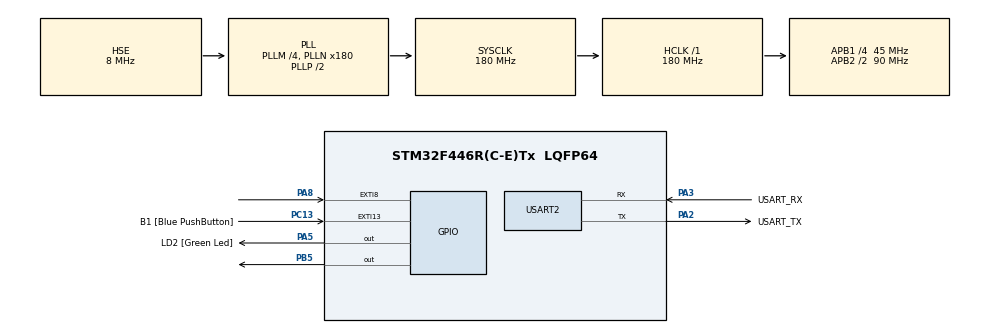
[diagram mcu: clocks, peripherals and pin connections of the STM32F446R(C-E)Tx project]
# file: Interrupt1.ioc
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Mcu.Family=STM32F4
Mcu.Name=STM32F446R(C-E)Tx
Mcu.Package=LQFP64
NVIC.EXTI9_5_IRQn=true\:0\:0\:false\:false\:true\:true\:true\:true
NVIC.PriorityGroup=NVIC_PRIORITYGROUP_0
PA13.GPIO_Label=TMS
PA13.Mode=Serial_Wire
PA13.Signal=SYS_JTMS-SWDIO
PA14.GPIO_Label=TCK
PA14.Mode=Serial_Wire
PA14.Signal=SYS_JTCK-SWCLK
PA2.GPIO_Label=USART_TX
PA2.Mode=Asynchronous
PA2.Signal=USART2_TX
PA3.GPIO_Label=USART_RX
PA3.Mode=Asynchronous
PA3.Signal=USART2_RX
PA5.GPIO_Label=LD2 [Green Led]
PA5.Signal=GPIO_Output
PA8.Signal=GPXTI8
PB3.GPIO_Label=SWO
PB3.Signal=SYS_JTDO-SWO
PB5.GPIO_Speed=GPIO_SPEED_FREQ_LOW
PB5.Signal=GPIO_Output
PC13.GPIO_Label=B1 [Blue PushButton]
PC13.GPIO_ModeDefaultEXTI=GPIO_MODE_IT_FALLING
PC13.Signal=GPXTI13
PC14-OSC32_IN.Signal=RCC_OSC32_IN
PC15-OSC32_OUT.Signal=RCC_OSC32_OUT
PH0-OSC_IN.Mode=HSE-External-Clock-Source
PH0-OSC_IN.Signal=RCC_OSC_IN
PH1-OSC_OUT.Mode=HSE-External-Clock-Source
PH1-OSC_OUT.Signal=RCC_OSC_OUT
ProjectManager.HeapSize=0x200
ProjectManager.StackSize=0x400
ProjectManager.TargetToolchain=STM32CubeIDE
RCC.48MHZClocksFreq_Value=84000000
RCC.AHBFreq_Value=180000000
RCC.APB1CLKDivider=RCC_HCLK_DIV4
RCC.APB1Freq_Value=45000000
RCC.APB1TimFreq_Value=90000000
RCC.APB2CLKDivider=RCC_HCLK_DIV2
RCC.APB2Freq_Value=90000000
RCC.APB2TimFreq_Value=180000000
RCC.CortexFreq_Value=180000000
RCC.FLatency-AdvancedSettings=FLASH_LATENCY_5
RCC.HCLKFreq_Value=180000000
RCC.HSE_VALUE=8000000
RCC.HSI_VALUE=16000000
RCC.PLLM=4
RCC.PLLN=180
RCC.PLLSourceVirtual=RCC_PLLSOURCE_HSE
RCC.SYSCLKFreq_VALUE=180000000
RCC.SYSCLKSource=RCC_SYSCLKSOURCE_PLLCLK
RCC.USBFreq_Value=180000000
RCC.VCOOutputFreq_Value=360000000
USART2.VirtualMode=VM_ASYNC
board=NUCLEO-F446RE

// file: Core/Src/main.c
/* USER CODE BEGIN Header */
/**
  ******************************************************************************
  * @file           : main.c
  * @brief          : Main program body
  ******************************************************************************
  * @attention
  *
  * Copyright (c) 2026 STMicroelectronics.
  * All rights reserved.
  *
  * This software is licensed under terms that can be found in the LICENSE file
  * in the root directory of this software component.
  * If no LICENSE file comes with this software, it is provided AS-IS.
  *
  ******************************************************************************
  */
/* USER CODE END Header */
#include "main.h"

/* USER CODE BEGIN Includes */
#include <string.h>

/* USER CODE END Includes */

/* USER CODE BEGIN PTD */

typedef enum
{
    MODE_OFF = 0,
    MODE_ON,
    MODE_FLASH,
    MODE_SOS
} LedMode_t;

/* USER CODE END PTD */

/* USER CODE BEGIN PD */

#define LONG_PRESS_TIME_MS   1000
#define DEBOUNCE_TIME_MS     50

/* USER CODE END PD */

UART_HandleTypeDef huart2;

/* USER CODE BEGIN PV */

uint32_t currentTime = 0;
uint32_t previousTime = 0;
uint32_t buttonPressStart = 0;

volatile LedMode_t ledMode = MODE_OFF;
LedMode_t lastReportedMode = MODE_OFF;

/* USER CODE END PV */

void SystemClock_Config(void);
static void MX_GPIO_Init(void);
static void MX_USART2_UART_Init(void);

/* USER CODE BEGIN PFP */
void uart_print(char *msg);
void quick_flash(void);
void sos_pattern(void);
uint8_t delay_abortable(uint32_t ms);
uint8_t led_on_abortable(uint32_t ms);
uint8_t led_off_abortable(uint32_t ms);

/* USER CODE END PFP */

/* USER CODE BEGIN 0 */

// Interrupt callback function
void HAL_GPIO_EXTI_Callback(uint16_t GPIO_Pin)
{
    if (GPIO_Pin == GPIO_PIN_8)
    {
        currentTime = HAL_GetTick();

        if ((currentTime - previousTime) < DEBOUNCE_TIME_MS)
        {
            return;
        }

        previousTime = currentTime;

        if (HAL_GPIO_ReadPin(GPIOA, GPIO_PIN_8) == GPIO_PIN_SET)
        {
            // Button pressed
            buttonPressStart = currentTime;
        }
        else
        {
            // Button released
            uint32_t pressDuration = currentTime - buttonPressStart;

            if (pressDuration >= LONG_PRESS_TIME_MS)
            {
                // Long press turns LED off from any mode
                ledMode = MODE_OFF;
            }
            else
            {
                // Short press cycles only through the 3 active modes
                switch (ledMode)
                {
                    case MODE_OFF:
                        ledMode = MODE_ON;
                        break;

                    case MODE_ON:
                        ledMode = MODE_FLASH;
                        break;

                    case MODE_FLASH:
                        ledMode = MODE_SOS;
                        break;

                    case MODE_SOS:
                        ledMode = MODE_ON;
                        break;

                    default:
                        ledMode = MODE_OFF;
                        break;
                }
            }
        }
    }
}

/* USER CODE END 0 */

int main(void)
{

  /* MCU Configuration--------------------------------------------------------*/

  /* Reset of all peripherals, Initializes the Flash interface and the Systick. */
  HAL_Init();

  /* Configure the system clock */
  SystemClock_Config();

  /* Initialize all configured peripherals */
  MX_GPIO_Init();
  MX_USART2_UART_Init();

  /* Infinite loop */
  /* USER CODE BEGIN WHILE */
  while (1)
  {
	  if (ledMode != lastReportedMode)
	  {
	      switch (ledMode)
	      {
	          case MODE_OFF:
	              uart_print("MODE: OFF\r\n");
	              break;

	          case MODE_ON:
	              uart_print("MODE: ON\r\n");
	              break;

	          case MODE_FLASH:
	              uart_print("MODE: FLASH\r\n");
	              break;

	          case MODE_SOS:
	              uart_print("MODE: SOS\r\n");
	              break;

	          default:
	              uart_print("MODE: UNKNOWN\r\n");
	              break;
	      }

	      lastReportedMode = ledMode;
	  }

      switch (ledMode)
      {
          case MODE_OFF:
              HAL_GPIO_WritePin(GPIOB, GPIO_PIN_5, GPIO_PIN_RESET);
              break;

          case MODE_ON:
              HAL_GPIO_WritePin(GPIOB, GPIO_PIN_5, GPIO_PIN_SET);
              break;

          case MODE_FLASH:
              quick_flash();
              break;

          case MODE_SOS:
              sos_pattern();
              break;

          default:
              ledMode = MODE_OFF;
              break;
      }
    /* USER CODE END WHILE */

  }
}

void SystemClock_Config(void)
{
  RCC_OscInitTypeDef RCC_OscInitStruct = {0};
  RCC_ClkInitTypeDef RCC_ClkInitStruct = {0};

  /** Configure the main internal regulator output voltage
  */
  __HAL_RCC_PWR_CLK_ENABLE();
  __HAL_PWR_VOLTAGESCALING_CONFIG(PWR_REGULATOR_VOLTAGE_SCALE1);

  /** Initializes the RCC Oscillators according to the specified parameters
  * in the RCC_OscInitTypeDef structure.
  */
  RCC_OscInitStruct.OscillatorType = RCC_OSCILLATORTYPE_HSE;
  RCC_OscInitStruct.HSEState = RCC_HSE_BYPASS;
  RCC_OscInitStruct.PLL.PLLState = RCC_PLL_ON;
  RCC_OscInitStruct.PLL.PLLSource = RCC_PLLSOURCE_HSE;
  RCC_OscInitStruct.PLL.PLLM = 4;
  RCC_OscInitStruct.PLL.PLLN = 180;
  RCC_OscInitStruct.PLL.PLLP = RCC_PLLP_DIV2;
  RCC_OscInitStruct.PLL.PLLQ = 2;
  RCC_OscInitStruct.PLL.PLLR = 2;
  if (HAL_RCC_OscConfig(&RCC_OscInitStruct) != HAL_OK)
  {
    Error_Handler();
  }

  /** Activate the Over-Drive mode
  */
  if (HAL_PWREx_EnableOverDrive() != HAL_OK)
  {
    Error_Handler();
  }

  /** Initializes the CPU, AHB and APB buses clocks
  */
  RCC_ClkInitStruct.ClockType = RCC_CLOCKTYPE_HCLK|RCC_CLOCKTYPE_SYSCLK
                              |RCC_CLOCKTYPE_PCLK1|RCC_CLOCKTYPE_PCLK2;
  RCC_ClkInitStruct.SYSCLKSource = RCC_SYSCLKSOURCE_PLLCLK;
  RCC_ClkInitStruct.AHBCLKDivider = RCC_SYSCLK_DIV1;
  RCC_ClkInitStruct.APB1CLKDivider = RCC_HCLK_DIV4;
  RCC_ClkInitStruct.APB2CLKDivider = RCC_HCLK_DIV2;

  if (HAL_RCC_ClockConfig(&RCC_ClkInitStruct, FLASH_LATENCY_5) != HAL_OK)
  {
    Error_Handler();
  }
}

static void MX_USART2_UART_Init(void)
{

  huart2.Instance = USART2;
  huart2.Init.BaudRate = 115200;
  huart2.Init.WordLength = UART_WORDLENGTH_8B;
  huart2.Init.StopBits = UART_STOPBITS_1;
  huart2.Init.Parity = UART_PARITY_NONE;
  huart2.Init.Mode = UART_MODE_TX_RX;
  huart2.Init.HwFlowCtl = UART_HWCONTROL_NONE;
  huart2.Init.OverSampling = UART_OVERSAMPLING_16;
  if (HAL_UART_Init(&huart2) != HAL_OK)
  {
    Error_Handler();
  }

}

static void MX_GPIO_Init(void)
{
  GPIO_InitTypeDef GPIO_InitStruct = {0};

  /* GPIO Ports Clock Enable */
  __HAL_RCC_GPIOC_CLK_ENABLE();
  __HAL_RCC_GPIOH_CLK_ENABLE();
  __HAL_RCC_GPIOA_CLK_ENABLE();
  __HAL_RCC_GPIOB_CLK_ENABLE();

  /*Configure GPIO pin Output Level */
  HAL_GPIO_WritePin(LD2_GPIO_Port, LD2_Pin, GPIO_PIN_RESET);

  /*Configure GPIO pin Output Level */
  HAL_GPIO_WritePin(GPIOB, GPIO_PIN_5, GPIO_PIN_RESET);

  /*Configure GPIO pin : B1_Pin */
  GPIO_InitStruct.Pin = B1_Pin;
  GPIO_InitStruct.Mode = GPIO_MODE_IT_FALLING;
  GPIO_InitStruct.Pull = GPIO_NOPULL;
  HAL_GPIO_Init(B1_GPIO_Port, &GPIO_InitStruct);

  /*Configure GPIO pin : LD2_Pin */
  GPIO_InitStruct.Pin = LD2_Pin;
  GPIO_InitStruct.Mode = GPIO_MODE_OUTPUT_PP;
  GPIO_InitStruct.Pull = GPIO_NOPULL;
  GPIO_InitStruct.Speed = GPIO_SPEED_FREQ_LOW;
  HAL_GPIO_Init(LD2_GPIO_Port, &GPIO_InitStruct);

  /*Configure GPIO pin : PA8 */
  GPIO_InitStruct.Pin = GPIO_PIN_8;
  GPIO_InitStruct.Mode = GPIO_MODE_IT_RISING_FALLING;
  GPIO_InitStruct.Pull = GPIO_PULLDOWN;
  HAL_GPIO_Init(GPIOA, &GPIO_InitStruct);

  /*Configure GPIO pin : PB5 */
  GPIO_InitStruct.Pin = GPIO_PIN_5;
  GPIO_InitStruct.Mode = GPIO_MODE_OUTPUT_PP;
  GPIO_InitStruct.Pull = GPIO_NOPULL;
  GPIO_InitStruct.Speed = GPIO_SPEED_FREQ_LOW;
  HAL_GPIO_Init(GPIOB, &GPIO_InitStruct);

  /* EXTI interrupt init*/
  HAL_NVIC_SetPriority(EXTI9_5_IRQn, 0, 0);
  HAL_NVIC_EnableIRQ(EXTI9_5_IRQn);

}

/* USER CODE BEGIN 4 */

uint8_t delay_abortable(uint32_t ms)
{
    uint32_t startTime = HAL_GetTick();
    LedMode_t startingMode = ledMode;

    while ((HAL_GetTick() - startTime) < ms)
    {
        if (ledMode != startingMode)
        {
            return 1;
        }

        HAL_Delay(10);
    }

    return 0;
}

uint8_t led_on_abortable(uint32_t ms)
{
    HAL_GPIO_WritePin(GPIOB, GPIO_PIN_5, GPIO_PIN_SET);
    return delay_abortable(ms);
}

uint8_t led_off_abortable(uint32_t ms)
{
    HAL_GPIO_WritePin(GPIOB, GPIO_PIN_5, GPIO_PIN_RESET);
    return delay_abortable(ms);
}

void quick_flash(void)
{
    if (led_off_abortable(1000)) return;
    if (led_on_abortable(100)) return;
}

void sos_pattern(void)
{
    // S
    if (led_on_abortable(200)) return;
    if (led_off_abortable(200)) return;

    if (led_on_abortable(200)) return;
    if (led_off_abortable(200)) return;

    if (led_on_abortable(200)) return;
    if (led_off_abortable(600)) return;

    // O
    if (led_on_abortable(600)) return;
    if (led_off_abortable(200)) return;

    if (led_on_abortable(600)) return;
    if (led_off_abortable(200)) return;

    if (led_on_abortable(600)) return;
    if (led_off_abortable(600)) return;

    // S
    if (led_on_abortable(200)) return;
    if (led_off_abortable(200)) return;

    if (led_on_abortable(200)) return;
    if (led_off_abortable(200)) return;

    if (led_on_abortable(200)) return;
    if (led_off_abortable(1000)) return;
}

void uart_print(char *msg)
{
    HAL_UART_Transmit(&huart2, (uint8_t*)msg, strlen(msg), HAL_MAX_DELAY);
}

/* USER CODE END 4 */

void Error_Handler(void)
{
  __disable_irq();
  while (1)
  {
  }
}
